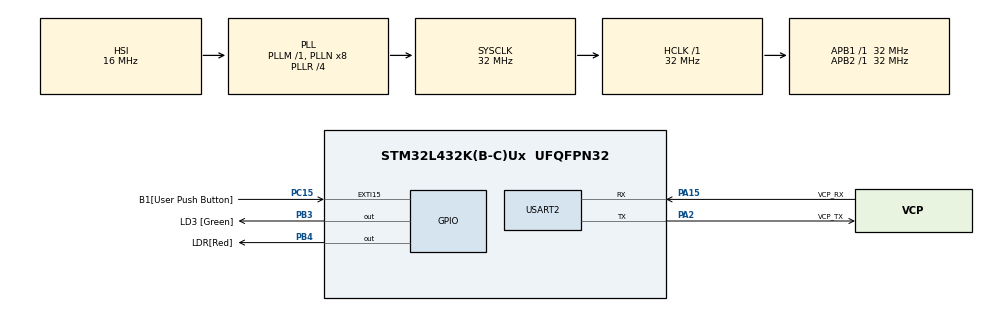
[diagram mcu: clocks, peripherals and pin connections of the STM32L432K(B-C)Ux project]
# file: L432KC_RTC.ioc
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Mcu.Family=STM32L4
Mcu.Name=STM32L432K(B-C)Ux
Mcu.Package=UFQFPN32
NVIC.PriorityGroup=NVIC_PRIORITYGROUP_4
NVIC.RTC_Alarm_IRQn=true\:0\:0\:false\:false\:true\:true\:true\:true
PA13\ (JTMS-SWDIO).GPIO_Label=SWDIO
PA13\ (JTMS-SWDIO).Mode=Serial_Wire
PA13\ (JTMS-SWDIO).Signal=SYS_JTMS-SWDIO
PA14\ (JTCK-SWCLK).GPIO_Label=SWCLK
PA14\ (JTCK-SWCLK).Mode=Serial_Wire
PA14\ (JTCK-SWCLK).Signal=SYS_JTCK-SWCLK
PA15\ (JTDI).GPIO_Label=VCP_RX
PA15\ (JTDI).Mode=Asynchronous
PA15\ (JTDI).Signal=USART2_RX
PA2.GPIO_Label=VCP_TX
PA2.Mode=Asynchronous
PA2.Signal=USART2_TX
PB3\ (JTDO-TRACESWO).GPIO_Label=LD3 [Green]
PB3\ (JTDO-TRACESWO).Signal=GPIO_Output
PB4\ (NJTRST).GPIO_Label=LDR[Red]
PB4\ (NJTRST).Signal=GPIO_Output
PC15-OSC32_OUT\ (PC15).GPIO_Label=B1[User Push Button]
PC15-OSC32_OUT\ (PC15).Signal=GPXTI15
ProjectManager.HeapSize=0x200
ProjectManager.StackSize=0x400
ProjectManager.TargetToolchain=STM32CubeIDE
RCC.ADCFreq_Value=64000000
RCC.AHBFreq_Value=32000000
RCC.APB1Freq_Value=32000000
RCC.APB1TimFreq_Value=32000000
RCC.APB2Freq_Value=32000000
RCC.APB2TimFreq_Value=32000000
RCC.CortexFreq_Value=32000000
RCC.HCLKFreq_Value=32000000
RCC.HSE_VALUE=8000000
RCC.HSI16_VALUE=16000000
RCC.HSI48_VALUE=48000000
RCC.HSI_VALUE=16000000
RCC.MSI_VALUE=4000000
RCC.PLLMUL=RCC_PLLMUL_4
RCC.PLLR=RCC_PLLR_DIV4
RCC.PLLSourceVirtual=RCC_PLLSOURCE_HSI
RCC.SYSCLKFreq_VALUE=32000000
RCC.SYSCLKSource=RCC_SYSCLKSOURCE_PLLCLK
RCC.USBFreq_Value=64000000
RCC.VCOOutputFreq_Value=128000000
RTC.Alarm=RTC_ALARM_A
USART2.SwapParam=ADVFEATURE_SWAP_ENABLE
USART2.VirtualMode-Asynchronous=VM_ASYNC
VP_RTC_VS_RTC_Activate.Mode=RTC_Enabled
VP_RTC_VS_RTC_Alarm_A_Intern.Mode=Alarm A
VP_RTC_VS_RTC_Calendar.Mode=RTC_Calendar
board=NUCLEO-L432KC

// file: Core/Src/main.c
/* USER CODE BEGIN Header */
/**
 ******************************************************************************
 * @file           : main.c
 * @brief          : Main program body
 ******************************************************************************
 * @attention
 *
 * Copyright (c) 2025 STMicroelectronics.
 * All rights reserved.
 *
 * This software is licensed under terms that can be found in the LICENSE file
 * in the root directory of this software component.
 * If no LICENSE file comes with this software, it is provided AS-IS.
 *
 ******************************************************************************
 */
/* USER CODE END Header */
#include "main.h"
#include "rtc.h"
#include "usart.h"
#include "gpio.h"

/* USER CODE BEGIN Includes */
#include "User_RTC.h"
/* USER CODE END Includes */

/* USER CODE BEGIN PV */
extern uint8_t alarmTriggered;
/* USER CODE END PV */

void SystemClock_Config(void);

int main(void)
{

  /* MCU Configuration--------------------------------------------------------*/

  /* Reset of all peripherals, Initializes the Flash interface and the Systick. */
  HAL_Init();

  /* Configure the system clock */
  SystemClock_Config();

  /* Initialize all configured peripherals */
  MX_GPIO_Init();
  MX_USART2_UART_Init();
  MX_RTC_Init();
  /* USER CODE BEGIN 2 */
  /* Configurer l'heure, la date et l'alarme au démarrage */
  RTC_SetTime(0); // Utilisez 1 pour le format 12H et 0 pour 24H
  RTC_SetDate();
  RTC_SetAlarm();

  /* USER CODE END 2 */

  /* Infinite loop */
  /* USER CODE BEGIN WHILE */
	while (1)
	{
		RTC_GetTime();
		RTC_DisplayTime();
		HAL_Delay(500);
		HAL_GPIO_TogglePin(LD3_GPIO_Port, LD3_Pin);

		if (alarmTriggered) {
			HAL_GPIO_WritePin(LD3_GPIO_Port, LD3_Pin, GPIO_PIN_RESET);
			RTC_OnAlarmTrigger();
			HAL_Delay(5000);
			alarmTriggered = 0;
			HAL_GPIO_WritePin(LDR_GPIO_Port, LDR_Pin, GPIO_PIN_RESET);
		}

    /* USER CODE END WHILE */

	}
}

void SystemClock_Config(void)
{
  RCC_OscInitTypeDef RCC_OscInitStruct = {0};
  RCC_ClkInitTypeDef RCC_ClkInitStruct = {0};

  /** Configure the main internal regulator output voltage
  */
  if (HAL_PWREx_ControlVoltageScaling(PWR_REGULATOR_VOLTAGE_SCALE1) != HAL_OK)
  {
    Error_Handler();
  }

  /** Initializes the RCC Oscillators according to the specified parameters
  * in the RCC_OscInitTypeDef structure.
  */
  RCC_OscInitStruct.OscillatorType = RCC_OSCILLATORTYPE_HSI|RCC_OSCILLATORTYPE_LSI;
  RCC_OscInitStruct.HSIState = RCC_HSI_ON;
  RCC_OscInitStruct.HSICalibrationValue = RCC_HSICALIBRATION_DEFAULT;
  RCC_OscInitStruct.LSIState = RCC_LSI_ON;
  RCC_OscInitStruct.PLL.PLLState = RCC_PLL_ON;
  RCC_OscInitStruct.PLL.PLLSource = RCC_PLLSOURCE_HSI;
  RCC_OscInitStruct.PLL.PLLM = 1;
  RCC_OscInitStruct.PLL.PLLN = 8;
  RCC_OscInitStruct.PLL.PLLP = RCC_PLLP_DIV7;
  RCC_OscInitStruct.PLL.PLLQ = RCC_PLLQ_DIV2;
  RCC_OscInitStruct.PLL.PLLR = RCC_PLLR_DIV4;
  if (HAL_RCC_OscConfig(&RCC_OscInitStruct) != HAL_OK)
  {
    Error_Handler();
  }

  /** Initializes the CPU, AHB and APB buses clocks
  */
  RCC_ClkInitStruct.ClockType = RCC_CLOCKTYPE_HCLK|RCC_CLOCKTYPE_SYSCLK
                              |RCC_CLOCKTYPE_PCLK1|RCC_CLOCKTYPE_PCLK2;
  RCC_ClkInitStruct.SYSCLKSource = RCC_SYSCLKSOURCE_PLLCLK;
  RCC_ClkInitStruct.AHBCLKDivider = RCC_SYSCLK_DIV1;
  RCC_ClkInitStruct.APB1CLKDivider = RCC_HCLK_DIV1;
  RCC_ClkInitStruct.APB2CLKDivider = RCC_HCLK_DIV1;

  if (HAL_RCC_ClockConfig(&RCC_ClkInitStruct, FLASH_LATENCY_1) != HAL_OK)
  {
    Error_Handler();
  }
}

void Error_Handler(void)
{
	__disable_irq();
	while (1)
	{
	}
}
